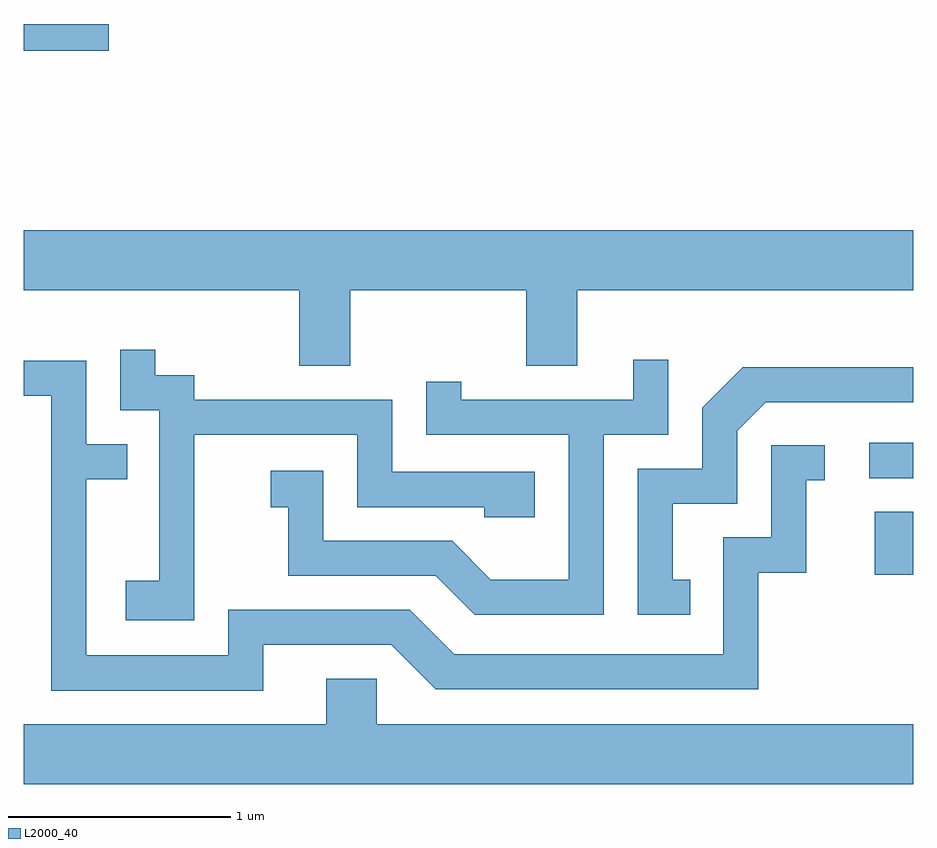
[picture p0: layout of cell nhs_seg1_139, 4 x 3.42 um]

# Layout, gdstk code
import gdstk
lib = gdstk.Library(unit=1e-6, precision=1e-09)
def R(c, l, rs):  # rectangles x0, y0, x1, y1
    for r in rs: c.add(gdstk.rectangle(r[:2], r[2:], *l))
def P(c, l, *ps):  # polygons
    for p in ps: c.add(gdstk.Polygon(p, *l))
L2000_40 = (2000, 40)

nhs_seg1_139 = lib.new_cell('nhs_seg1_139')
R(nhs_seg1_139, L2000_40, [(193.436,847.236,193.611,847.519), (193.413,847.671,193.611,847.829), (189.611,849.591,189.994,849.712)])
P(nhs_seg1_139, L2000_40, [(191.079,848.516),(191.871,848.516),(191.871,848.176),(192.099,848.176),(192.099,848.516),(193.611,848.516),(193.611,848.784),(189.611,848.784),(189.611,848.516),(190.851,848.516),(190.851,848.176),(191.079,848.176)],
  [(190.379,847.866),(191.111,847.866),(191.111,847.541),(191.681,847.541),(191.681,847.496),(191.909,847.496),(191.909,847.699),(191.269,847.699),(191.269,848.024),(190.379,848.024),(190.379,848.134),(190.204,848.134),(190.204,848.248),(190.046,848.248),(190.046,847.976),(190.221,847.976),(190.221,847.209),(190.071,847.209),(190.071,847.031),(190.379,847.031)],
  [(192.219,847.866),(192.509,847.866),(192.509,848.203),(192.351,848.203),(192.351,848.024),(191.579,848.024),(191.579,848.103),(191.421,848.103),(191.421,847.866),(192.061,847.866),(192.061,847.214),(191.712,847.214),(191.537,847.389),(190.959,847.389),(190.959,847.704),(190.723,847.704),(190.723,847.541),(190.801,847.541),(190.801,847.231),(191.464,847.231),(191.639,847.056),(192.219,847.056)],
  [(190.689,846.921),(191.264,846.921),(191.464,846.721),(192.914,846.721),(192.914,847.246),(193.129,847.246),(193.129,847.661),(193.213,847.661),(193.213,847.819),(192.971,847.819),(192.971,847.404),(192.756,847.404),(192.756,846.879),(191.547,846.879),(191.347,847.079),(190.531,847.079),(190.531,846.874),(189.894,846.874),(189.894,847.666),(190.078,847.666),(190.078,847.824),(189.894,847.824),(189.894,848.199),(189.611,848.199),(189.611,848.041),(189.736,848.041),(189.736,846.716),(190.689,846.716)],
  [(192.608,847.214),(192.529,847.214),(192.529,847.556),(192.819,847.556),(192.819,847.884),(192.947,848.011),(193.611,848.011),(193.611,848.169),(192.844,848.169),(192.661,847.987),(192.661,847.714),(192.371,847.714),(192.371,847.056),(192.608,847.056)],
  [(193.611,846.564),(191.199,846.564),(191.199,846.769),(190.971,846.769),(190.971,846.564),(189.611,846.564),(189.611,846.296),(193.611,846.296)])

lib.write_gds('nhs_seg1_139.gds')
